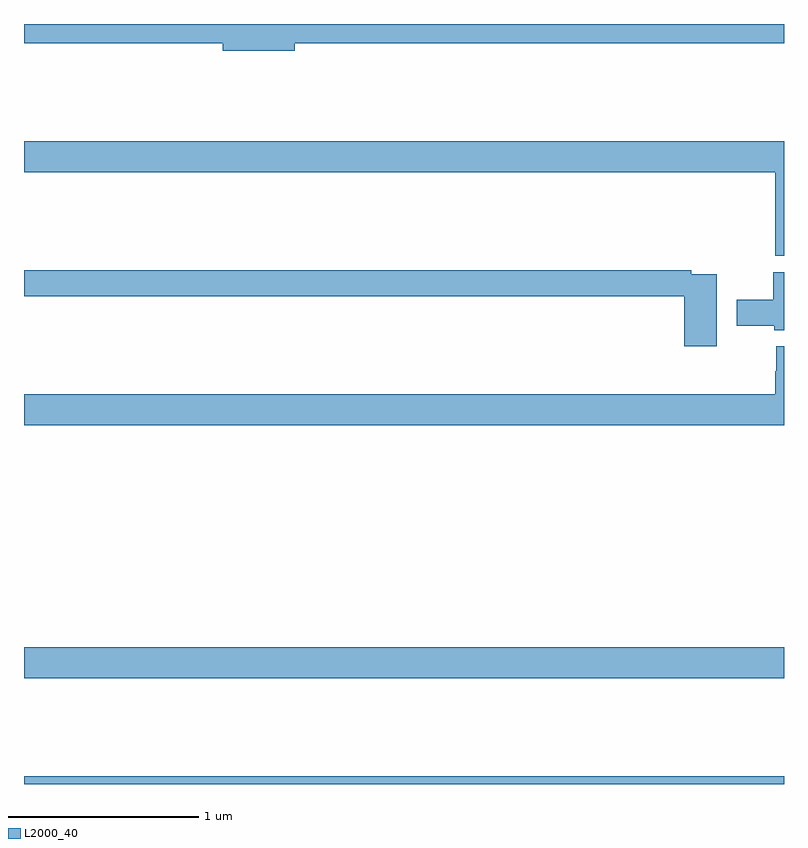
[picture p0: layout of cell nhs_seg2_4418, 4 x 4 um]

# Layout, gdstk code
import gdstk
lib = gdstk.Library(unit=1e-6, precision=1e-09)
def R(c, l, rs):  # rectangles x0, y0, x1, y1
    for r in rs: c.add(gdstk.rectangle(r[:2], r[2:], *l))
def P(c, l, *ps):  # polygons
    for p in ps: c.add(gdstk.Polygon(p, *l))
L2000_40 = (2000, 40)

nhs_seg2_4418 = lib.new_cell('nhs_seg2_4418')
R(nhs_seg2_4418, L2000_40, [(351,593.8,355,593.84), (351,594.356,355,594.52)])
P(nhs_seg2_4418, L2000_40, [(352.426,597.7),(355,597.7),(355,597.8),(351,597.8),(351,597.7),(352.046,597.7),(352.046,597.658),(352.426,597.658)],
  [(355,597.184),(351,597.184),(351,597.02),(354.953,597.02),(354.953,596.579),(355,596.579)],
  [(354.646,596.484),(354.512,596.484),(354.512,596.504),(351,596.504),(351,596.368),(354.476,596.368),(354.476,596.103),(354.646,596.103)],
  [(355,596.494),(354.944,596.494),(354.944,596.348),(354.75,596.348),(354.75,596.213),(354.948,596.213),(354.948,596.189),(355,596.189)],
  [(355,596.104),(354.958,596.104),(354.958,595.973),(354.953,595.973),(354.953,595.852),(351,595.852),(351,595.688),(355,595.688)])

lib.write_gds('nhs_seg2_4418.gds')
